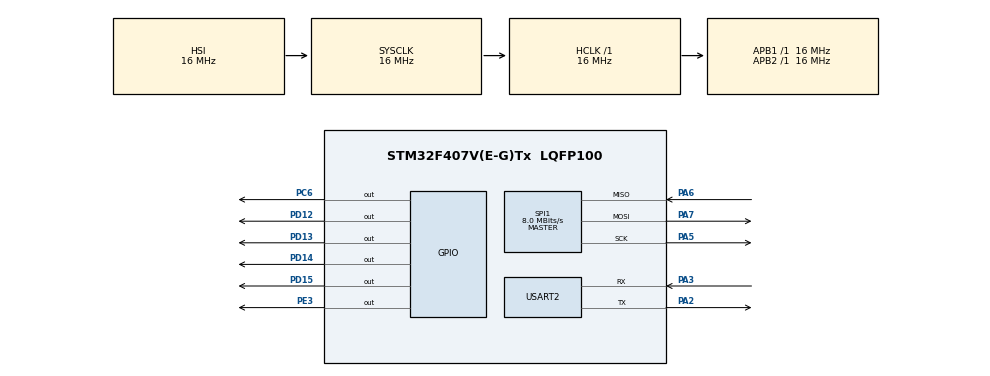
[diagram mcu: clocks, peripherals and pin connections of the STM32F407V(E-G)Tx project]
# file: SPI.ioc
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Mcu.Family=STM32F4
Mcu.Name=STM32F407V(E-G)Tx
Mcu.Package=LQFP100
NVIC.PriorityGroup=NVIC_PRIORITYGROUP_4
PA2.Mode=Asynchronous
PA2.Signal=USART2_TX
PA3.Mode=Asynchronous
PA3.Signal=USART2_RX
PA5.Mode=Full_Duplex_Master
PA5.Signal=SPI1_SCK
PA6.Mode=Full_Duplex_Master
PA6.Signal=SPI1_MISO
PA7.Mode=Full_Duplex_Master
PA7.Signal=SPI1_MOSI
PC6.Signal=GPIO_Output
PD12.Signal=GPIO_Output
PD13.Signal=GPIO_Output
PD14.Signal=GPIO_Output
PD15.Signal=GPIO_Output
PE3.Signal=GPIO_Output
ProjectManager.HeapSize=0x200
ProjectManager.StackSize=0x400
ProjectManager.TargetToolchain=STM32CubeIDE
RCC.AHBFreq_Value=16000000
RCC.APB1Freq_Value=16000000
RCC.APB2Freq_Value=16000000
RCC.CortexFreq_Value=16000000
RCC.HSE_VALUE=25000000
RCC.HSI_VALUE=16000000
RCC.LSE_VALUE=32768
RCC.SYSCLKFreq_VALUE=16000000
RCC.VCOOutputFreq_Value=192000000
SPI1.CalculateBaudRate=8.0 MBits/s
SPI1.Direction=SPI_DIRECTION_2LINES
SPI1.Mode=SPI_MODE_MASTER
SPI1.VirtualType=VM_MASTER
USART2.VirtualMode=VM_ASYNC
board=custom

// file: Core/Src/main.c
/* USER CODE BEGIN Header */
/**
  ******************************************************************************
  * @file           : main.c
  * @brief          : Main program body
  ******************************************************************************
  */
/* USER CODE END Header */
#include "main.h"

/* USER CODE BEGIN Includes */
#include <stdlib.h>
#include <stdio.h>
#include <string.h>
/* USER CODE END Includes */

SPI_HandleTypeDef hspi1;

UART_HandleTypeDef huart2;

/* USER CODE BEGIN PV */
uint8_t txBuff[2];
uint8_t RxBuff[6];

uint8_t ReadFlag = 0x80;
uint8_t WhoAmI;

int16_t accel_x;
int16_t accel_y;
int16_t accel_z;

uint16_t tilt_time = 0;
uint16_t safe_time = 0;
uint8_t alarm__active = 0;
uint16_t threshold = 1500;

char uart_msg[128];
/* USER CODE END PV */

void SystemClock_Config(void);
static void MX_GPIO_Init(void);
static void MX_SPI1_Init(void);
static void MX_USART2_UART_Init(void);

int main(void)
{

  /* MCU Configuration--------------------------------------------------------*/

  /* Reset of all peripherals, Initializes the Flash interface and the Systick. */
  HAL_Init();

  /* Configure the system clock */
  SystemClock_Config();

  /* Initialize all configured peripherals */
  MX_GPIO_Init();
  MX_SPI1_Init();
  MX_USART2_UART_Init();
  /* USER CODE BEGIN 2 */

  HAL_GPIO_WritePin(GPIOE, GPIO_PIN_3, GPIO_PIN_RESET);
  txBuff[0] = 0x0F | ReadFlag;
  HAL_SPI_Transmit(&hspi1,txBuff,1,50);
  HAL_SPI_Receive(&hspi1, &WhoAmI, 1, 50);
  HAL_GPIO_WritePin(GPIOE, GPIO_PIN_3, GPIO_PIN_SET);

  if(WhoAmI != 0x3F && WhoAmI != 0x3B)
  {
	  HAL_GPIO_WritePin(GPIOD, GPIO_PIN_14, GPIO_PIN_SET);
	  while(1);
  }

  HAL_GPIO_WritePin(GPIOE, GPIO_PIN_3, GPIO_PIN_RESET);
  txBuff[0] = 0x20;
  txBuff[1] = 0x47;
  HAL_SPI_Transmit(&hspi1,txBuff,2,50);
  HAL_GPIO_WritePin(GPIOE, GPIO_PIN_3, GPIO_PIN_SET);

  HAL_GPIO_WritePin(GPIOE, GPIO_PIN_3, GPIO_PIN_RESET);
  txBuff[0] = 0x24;
  txBuff[1] = 0xC0;
  HAL_SPI_Transmit(&hspi1,txBuff,2,50);
  HAL_GPIO_WritePin(GPIOE, GPIO_PIN_3, GPIO_PIN_SET);

  HAL_GPIO_WritePin(GPIOE, GPIO_PIN_3, GPIO_PIN_RESET);
  txBuff[0] = 0x25;
  txBuff[1] = 0x10;
  HAL_SPI_Transmit(&hspi1,txBuff,2,50);
  HAL_GPIO_WritePin(GPIOE, GPIO_PIN_3, GPIO_PIN_SET);

  /* USER CODE END 2 */

  /* Infinite loop */
  while (1)
  {

    /* USER CODE BEGIN 3 */
	  HAL_GPIO_WritePin(GPIOE, GPIO_PIN_3, GPIO_PIN_RESET);
	  txBuff[0] = 0x27 | ReadFlag;
	  HAL_SPI_Transmit(&hspi1,txBuff,1,50);
	  HAL_SPI_Receive(&hspi1, RxBuff, 1, 50);
	  HAL_GPIO_WritePin(GPIOE, GPIO_PIN_3, GPIO_PIN_SET);

	  if((RxBuff[0] & 0x07) == 0x07)
	  {
		  HAL_GPIO_WritePin(GPIOE, GPIO_PIN_3, GPIO_PIN_RESET);
		  txBuff[0] = 0x28 | ReadFlag;
		  HAL_SPI_Transmit(&hspi1,txBuff,1,50);
		  HAL_SPI_Receive(&hspi1, RxBuff, 6, 50);
		  HAL_GPIO_WritePin(GPIOE, GPIO_PIN_3, GPIO_PIN_SET);

		  accel_x = (int16_t)(((uint16_t)RxBuff[1] << 8) | RxBuff[0]);
		  accel_y = (int16_t)(((uint16_t)RxBuff[3] << 8) | RxBuff[2]);
		  accel_z = (int16_t)(((uint16_t)RxBuff[5] << 8) | RxBuff[4]);

		  uint8_t is_titled = (abs(accel_x) > threshold || abs(accel_y) > threshold);
          char *dir_str = "LEVEL";

		  if(is_titled)
		  {
			  safe_time = 0;
			  if(!alarm__active && (tilt_time += 100) >= 3000 )
			  {
				  alarm__active = 1;
			  }
		  }
		  else{
			  tilt_time = 0;
			  if(alarm__active &&  (safe_time += 100) >= 2000)
			  {
				  alarm__active = 0;
			  }
		  }

		  if(alarm__active)
		  {
			  HAL_GPIO_TogglePin(GPIOD, GPIO_PIN_12|GPIO_PIN_13|GPIO_PIN_14|GPIO_PIN_15);
		  }else{
			  HAL_GPIO_WritePin(GPIOD, GPIO_PIN_12|GPIO_PIN_13|GPIO_PIN_14|GPIO_PIN_15,GPIO_PIN_RESET);

              if(is_titled)
              {
                  if(abs(accel_x) > abs(accel_y))
                  {
                      HAL_GPIO_WritePin(GPIOD, (accel_x > 0) ? GPIO_PIN_14 : GPIO_PIN_12, GPIO_PIN_SET);
                      dir_str = (accel_x > 0) ? "-X" : "+X";
                  }else{
                      HAL_GPIO_WritePin(GPIOD, (accel_y > 0) ? GPIO_PIN_13 : GPIO_PIN_15,GPIO_PIN_SET);
                      dir_str = (accel_y > 0) ? "+Y" : "-Y";
                  }
              }
		  }

          sprintf(uart_msg, "Direction: %s | X: %6d | Y: %6d | Z: %6d\r\n", dir_str, accel_x, accel_y, accel_z);
          HAL_UART_Transmit(&huart2, (uint8_t*)uart_msg, strlen(uart_msg), 100);
	  }

	  HAL_Delay(100);
  }
  /* USER CODE END 3 */
}

void SystemClock_Config(void)
{
  RCC_OscInitTypeDef RCC_OscInitStruct = {0};
  RCC_ClkInitTypeDef RCC_ClkInitStruct = {0};

  /** Configure the main internal regulator output voltage
  */
  __HAL_RCC_PWR_CLK_ENABLE();
  __HAL_PWR_VOLTAGESCALING_CONFIG(PWR_REGULATOR_VOLTAGE_SCALE1);

  /** Initializes the RCC Oscillators according to the specified parameters
  * in the RCC_OscInitTypeDef structure.
  */
  RCC_OscInitStruct.OscillatorType = RCC_OSCILLATORTYPE_HSI;
  RCC_OscInitStruct.HSIState = RCC_HSI_ON;
  RCC_OscInitStruct.HSICalibrationValue = RCC_HSICALIBRATION_DEFAULT;
  RCC_OscInitStruct.PLL.PLLState = RCC_PLL_NONE;
  if (HAL_RCC_OscConfig(&RCC_OscInitStruct) != HAL_OK)
  {
    Error_Handler();
  }

  /** Initializes the CPU, AHB and APB buses clocks
  */
  RCC_ClkInitStruct.ClockType = RCC_CLOCKTYPE_HCLK|RCC_CLOCKTYPE_SYSCLK
                              |RCC_CLOCKTYPE_PCLK1|RCC_CLOCKTYPE_PCLK2;
  RCC_ClkInitStruct.SYSCLKSource = RCC_SYSCLKSOURCE_HSI;
  RCC_ClkInitStruct.AHBCLKDivider = RCC_SYSCLK_DIV1;
  RCC_ClkInitStruct.APB1CLKDivider = RCC_HCLK_DIV1;
  RCC_ClkInitStruct.APB2CLKDivider = RCC_HCLK_DIV1;

  if (HAL_RCC_ClockConfig(&RCC_ClkInitStruct, FLASH_LATENCY_0) != HAL_OK)
  {
    Error_Handler();
  }
}

static void MX_SPI1_Init(void)
{

  /* SPI1 parameter configuration*/
  hspi1.Instance = SPI1;
  hspi1.Init.Mode = SPI_MODE_MASTER;
  hspi1.Init.Direction = SPI_DIRECTION_2LINES;
  hspi1.Init.DataSize = SPI_DATASIZE_8BIT;
  hspi1.Init.CLKPolarity = SPI_POLARITY_LOW;
  hspi1.Init.CLKPhase = SPI_PHASE_1EDGE;
  hspi1.Init.NSS = SPI_NSS_SOFT;
  hspi1.Init.BaudRatePrescaler = SPI_BAUDRATEPRESCALER_2;
  hspi1.Init.FirstBit = SPI_FIRSTBIT_MSB;
  hspi1.Init.TIMode = SPI_TIMODE_DISABLE;
  hspi1.Init.CRCCalculation = SPI_CRCCALCULATION_DISABLE;
  hspi1.Init.CRCPolynomial = 10;
  if (HAL_SPI_Init(&hspi1) != HAL_OK)
  {
    Error_Handler();
  }

}

static void MX_USART2_UART_Init(void)
{

  huart2.Instance = USART2;
  huart2.Init.BaudRate = 115200;
  huart2.Init.WordLength = UART_WORDLENGTH_8B;
  huart2.Init.StopBits = UART_STOPBITS_1;
  huart2.Init.Parity = UART_PARITY_NONE;
  huart2.Init.Mode = UART_MODE_TX_RX;
  huart2.Init.HwFlowCtl = UART_HWCONTROL_NONE;
  huart2.Init.OverSampling = UART_OVERSAMPLING_16;
  if (HAL_UART_Init(&huart2) != HAL_OK)
  {
    Error_Handler();
  }

}

static void MX_GPIO_Init(void)
{
  GPIO_InitTypeDef GPIO_InitStruct = {0};

  /* GPIO Ports Clock Enable */
  __HAL_RCC_GPIOE_CLK_ENABLE();
  __HAL_RCC_GPIOA_CLK_ENABLE();
  __HAL_RCC_GPIOD_CLK_ENABLE();
  __HAL_RCC_GPIOC_CLK_ENABLE();

  /*Configure GPIO pin Output Level */
  HAL_GPIO_WritePin(GPIOE, GPIO_PIN_3, GPIO_PIN_RESET);

  /*Configure GPIO pin Output Level */
  HAL_GPIO_WritePin(GPIOD, GPIO_PIN_12|GPIO_PIN_13|GPIO_PIN_14|GPIO_PIN_15, GPIO_PIN_RESET);

  /*Configure GPIO pin Output Level */
  HAL_GPIO_WritePin(GPIOC, GPIO_PIN_6, GPIO_PIN_RESET);

  /*Configure GPIO pin : PE3 */
  GPIO_InitStruct.Pin = GPIO_PIN_3;
  GPIO_InitStruct.Mode = GPIO_MODE_OUTPUT_PP;
  GPIO_InitStruct.Pull = GPIO_NOPULL;
  GPIO_InitStruct.Speed = GPIO_SPEED_FREQ_LOW;
  HAL_GPIO_Init(GPIOE, &GPIO_InitStruct);

  /*Configure GPIO pins : PD12 PD13 PD14 PD15 */
  GPIO_InitStruct.Pin = GPIO_PIN_12|GPIO_PIN_13|GPIO_PIN_14|GPIO_PIN_15;
  GPIO_InitStruct.Mode = GPIO_MODE_OUTPUT_PP;
  GPIO_InitStruct.Pull = GPIO_NOPULL;
  GPIO_InitStruct.Speed = GPIO_SPEED_FREQ_LOW;
  HAL_GPIO_Init(GPIOD, &GPIO_InitStruct);

  /*Configure GPIO pin : PC6 */
  GPIO_InitStruct.Pin = GPIO_PIN_6;
  GPIO_InitStruct.Mode = GPIO_MODE_OUTPUT_PP;
  GPIO_InitStruct.Pull = GPIO_NOPULL;
  GPIO_InitStruct.Speed = GPIO_SPEED_FREQ_LOW;
  HAL_GPIO_Init(GPIOC, &GPIO_InitStruct);

}

void Error_Handler(void)
{
  __disable_irq();
  while (1)
  {
  }
}
